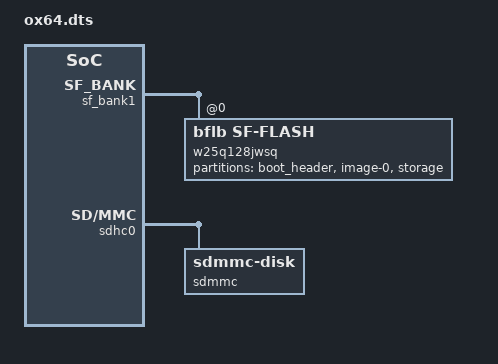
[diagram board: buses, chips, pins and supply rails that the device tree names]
/*
 * Copyright (c) 2026 MASSDRIVER EI (massdriver.space)
 *
 * SPDX-License-Identifier: Apache-2.0
 */

/dts-v1/;

#include "ox64_common.dtsi"

/ {
	chosen {
		zephyr,flash = &w25q128jwsq;
		zephyr,code-partition = &slot0_partition;
	};

	aliases {
		sdhc0 = &sdhc0;
	};
};

&sf_bank1 {
	reg = <0x58000000 DT_SIZE_M(16)>;
	ranges = <0x0 0x58000000 DT_SIZE_M(16)>;

	w25q128jwsq: flash@0 {
		compatible = "bflb,sf-flash", "soc-nv-flash";
		reg = <0 DT_SIZE_M(16)>;
		ranges;
		#address-cells = <1>;
		#size-cells = <1>;
		write-block-size = <4>;
		erase-block-size = <DT_SIZE_K(4)>;

		/* Refuses to do DIO or QIO */
		spi-bus-mode = <2>;
		sf-pad = <2>;
		jedec-id = [ef 60 18];
		use-sfdp;

		partitions {
			ranges;
			#address-cells = <1>;
			#size-cells = <1>;

			boot_header_partition: partition@0 {
				compatible = "zephyr,mapped-partition";
				label = "boot_header";
				reg = <0x00000000 0x2000>;
				read-only;
			};

			slot0_partition: partition@2000 {
				compatible = "zephyr,mapped-partition";
				label = "image-0";
				reg = <0x00002000 (DT_SIZE_M(8) - 0x2000)>;
				read-only;
			};

			storage_partition: partition@800000 {
				compatible = "zephyr,mapped-partition";
				label = "storage";
				reg = <0x00800000 DT_SIZE_M(8)>;
			};
		};
	};
};

/* SD card slot is only populated on 16MB version */
&sdhc0 {
	pinctrl-0 = <&sdhc0_default>;
	pinctrl-names = "default";
	status = "okay";

	sdmmc {
		compatible = "zephyr,sdmmc-disk";
		disk-name = "SD";
		status = "okay";
	};
};
